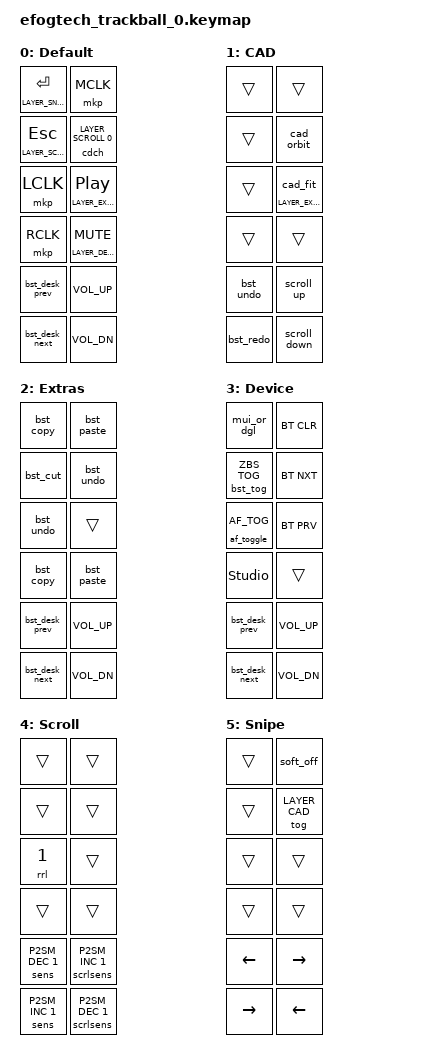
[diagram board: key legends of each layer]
#include <behaviors.dtsi>
#include <dt-bindings/zmk/bt.h>
#include <dt-bindings/zmk/keys.h>
#include <dt-bindings/zmk/pointing.h>
#include <dt-bindings/zmk/outputs.h>
#include <dt-bindings/zmk/adaptive_feedback.h>
#include <dt-bindings/zmk/bistable_behavior.h>
#include <dt-bindings/zmk/p2sm.h>

#ifndef LAYER_DEFAULT
#define LAYER_DEFAULT      0
#define LAYER_CAD          1
#define LAYER_EXTRAS       2
#define LAYER_DEVICE       3
#define LAYER_SCROLL       4
#define LAYER_SNIPE        5
#endif

/ {
	behaviors {
		bst_desk_next: bst_desk_next {
			compatible = "zmk,behavior-bistable";
			display-name = "Next desktop (OS-dependent)";
			#binding-cells = <0>;
			bindings = <&kp LG(LC(RIGHT))>, <&kp LC(RIGHT)>;
		};

		bst_redo: bst_redo {
			compatible = "zmk,behavior-bistable";
			display-name = "Redo (OS-dependent)";
			#binding-cells = <0>;
			bindings = <&kp LC(Y)>, <&kp LG(LS(Z))>;
		};

		cad_orbit: cad_orbit {
			compatible = "zmk,behavior-macro";
			display-name = "CAD orbit (Shift + middle button)";
			#binding-cells = <0>;
			wait-ms = <0>;
			tap-ms = <0>;
			bindings = <&macro_press &kp LSHIFT &mkp MCLK>,
			           <&macro_pause_for_release>,
			           <&macro_release &mkp MCLK &kp LSHIFT>;
		};

		cad_fit: cad_fit {
			compatible = "zmk,behavior-macro";
			display-name = "CAD fit view (F6 Fusion, Z Bambu)";
			#binding-cells = <0>;
			wait-ms = <20>;
			tap-ms = <20>;
			bindings = <&macro_tap &kp F6 &kp Z>;
		};

		ht_fit: hold_tap_fit {
			compatible = "zmk,behavior-hold-tap";
			display-name = "Hold/tap (layer/CAD fit)";
			#binding-cells = <2>;
			flavor = "tap-preferred";
			tapping-term-ms = <200>;
			bindings = <&mo>, <&cad_fit>;
			hold-while-undecided;
		};

		bst_desk_prev: bst_desk_prev {
			compatible = "zmk,behavior-bistable";
			display-name = "Previous desktop (OS-dependent)";
			#binding-cells = <0>;
			bindings = <&kp LG(LC(LEFT))>, <&kp LC(LEFT)>;
		};
	};

	keymap {
		compatible = "zmk,keymap";

		default_layer {
			display-name = "Default";
			DECLARE_ENCODERS;
			bindings = <
			    // buttons
			    &ltmkp LAYER_SNIPE ENTER  &mkp MCLK
			    &ltmkp LAYER_SCROLL ESC   &cdch LAYER_SCROLL 0
			    &mkp LCLK                 &ltmkp LAYER_EXTRAS C_PLAY_PAUSE
			    &mkp RCLK                 &lt LAYER_DEVICE C_MUTE

			    // rotary encoders
			    &bst_desk_prev            &kp C_VOL_UP
			    &bst_desk_next            &kp C_VOL_DN
		    >;
		};

		cad_layer {
			display-name = "CAD";
			DECLARE_ENCODERS;
			bindings = <
			    &trans         &trans
			    &trans         &cad_orbit
			    &trans         &ht_fit LAYER_EXTRAS 0
			    &trans         &trans

			    &bst_undo      &scroll_up
			    &bst_redo      &scroll_down
			>;
		};

		layer1 {
			display-name = "Extras";
			DECLARE_ENCODERS;
			bindings = <
			    &bst_copy      &bst_paste
			    &bst_cut       &bst_undo
			    &bst_undo      &trans
			    &bst_copy      &bst_paste

			    &bst_desk_prev &kp C_VOL_UP
			    &bst_desk_next &kp C_VOL_DN
	   		>;
		};

		layer2 {
			display-name = "Device";
			DECLARE_ENCODERS;
			bindings = <
			    &mui_or_dgl          &bt BT_CLR
			    &bst_tog ZBS_TOG     &bt BT_NXT
			    &af_toggle AF_TOG    &bt BT_PRV
			    &studio_unlock       &trans

			    &bst_desk_prev       &kp C_VOL_UP
			    &bst_desk_next       &kp C_VOL_DN
		   	>;
		};

		layer3 {
			display-name = "Scroll";
			DECLARE_ENCODERS;
			bindings = <
			    &trans              &trans
			    &trans              &trans
			    &rrl 1              &trans
			    &trans              &trans

			    &sens P2SM_DEC 1    &scrlsens P2SM_INC 1
			    &sens P2SM_INC 1    &scrlsens P2SM_DEC 1
		  	>;
		};

		layer4 {
			display-name = "Snipe";
			DECLARE_ENCODERS;
			bindings = <
			    &trans           &soft_off
			    &trans           &tog LAYER_CAD
			    &trans           &trans
			    &trans           &trans

			    &kp LEFT         &kp RIGHT
			    &kp RIGHT        &kp LEFT
	   		>;
		};

	};

	trackball {
		input-processors = <&zip_bistable_twist_scaler>,
						   <&zip_pointer_accel>, <&zip_scroll_accel>, <&zip_rotate_pointer>,
		                   <&esb_ip>, <&zip_ble_report_rate_limit>;

		scroll {
			layers = <LAYER_SCROLL>;
			input-processors = <&zip_bistable_scroll_xy_scaler>, <&zip_axis_clamper>,
							   <&zip_xy_to_scroll_mapper>, <&zip_scroll_transform INPUT_TRANSFORM_Y_INVERT>,
							   <&zip_dragscroll_accel>, <&zip_rotate_scroll>,
							   <&esb_ip>, <&zip_ble_report_rate_limit>;
		};

		snipe {
			layers = <LAYER_SNIPE>;
			input-processors = <&zip_bistable_snipe_scaler>, <&zip_rotate_pointer>,
							   <&esb_ip>, <&zip_ble_report_rate_limit>;
		};
	};
};
